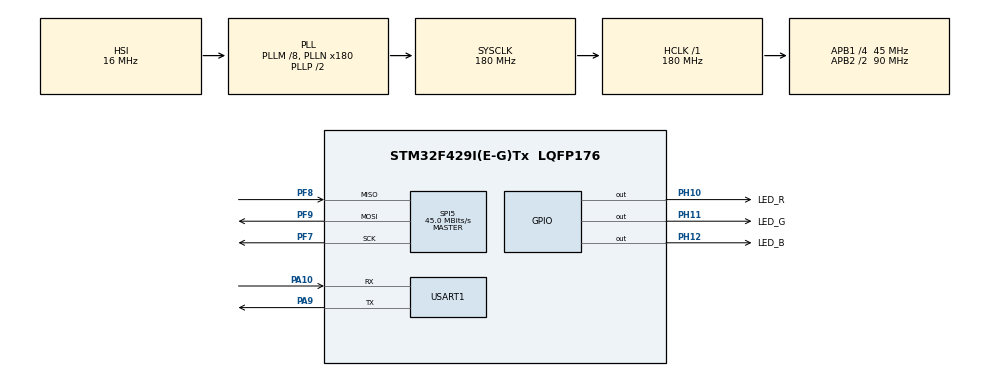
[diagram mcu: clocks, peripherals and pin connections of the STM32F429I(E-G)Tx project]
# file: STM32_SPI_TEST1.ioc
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Mcu.Family=STM32F4
Mcu.Name=STM32F429I(E-G)Tx
Mcu.Package=LQFP176
NVIC.PriorityGroup=NVIC_PRIORITYGROUP_4
PA10.Mode=Asynchronous
PA10.Signal=USART1_RX
PA9.Mode=Asynchronous
PA9.Signal=USART1_TX
PF7.Mode=Full_Duplex_Master
PF7.Signal=SPI5_SCK
PF8.Mode=Full_Duplex_Master
PF8.Signal=SPI5_MISO
PF9.Mode=Full_Duplex_Master
PF9.Signal=SPI5_MOSI
PH0/OSC_IN.Mode=HSE-External-Oscillator
PH0/OSC_IN.Signal=RCC_OSC_IN
PH1/OSC_OUT.Mode=HSE-External-Oscillator
PH1/OSC_OUT.Signal=RCC_OSC_OUT
PH10.GPIO_Label=LED_R
PH10.PinState=GPIO_PIN_SET
PH10.Signal=GPIO_Output
PH11.GPIO_Label=LED_G
PH11.PinState=GPIO_PIN_SET
PH11.Signal=GPIO_Output
PH12.GPIO_Label=LED_B
PH12.PinState=GPIO_PIN_SET
PH12.Signal=GPIO_Output
ProjectManager.HeapSize=0x200
ProjectManager.StackSize=0x400
ProjectManager.TargetToolchain=MDK-ARM V5.27
RCC.48MHZClocksFreq_Value=90000000
RCC.AHBFreq_Value=180000000
RCC.APB1CLKDivider=RCC_HCLK_DIV4
RCC.APB1Freq_Value=45000000
RCC.APB1TimFreq_Value=90000000
RCC.APB2CLKDivider=RCC_HCLK_DIV2
RCC.APB2Freq_Value=90000000
RCC.APB2TimFreq_Value=180000000
RCC.CortexFreq_Value=180000000
RCC.HCLKFreq_Value=180000000
RCC.HSE_VALUE=25000000
RCC.HSI_VALUE=16000000
RCC.LSE_VALUE=32768
RCC.PLLM=8
RCC.PLLN=180
RCC.SYSCLKFreq_VALUE=180000000
RCC.SYSCLKSource=RCC_SYSCLKSOURCE_PLLCLK
RCC.VCOOutputFreq_Value=360000000
SPI5.CalculateBaudRate=45.0 MBits/s
SPI5.Direction=SPI_DIRECTION_2LINES
SPI5.Mode=SPI_MODE_MASTER
SPI5.VirtualType=VM_MASTER
USART1.VirtualMode=VM_ASYNC
board=custom

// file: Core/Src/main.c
/* USER CODE BEGIN Header */
/**
  ******************************************************************************
  * @file           : main.c
  * @brief          : Main program body
  ******************************************************************************
  * @attention
  *
  * <h2><center>&copy; Copyright (c) 2022 STMicroelectronics.
  * All rights reserved.</center></h2>
  *
  * This software component is licensed by ST under BSD 3-Clause license,
  * the "License"; You may not use this file except in compliance with the
  * License. You may obtain a copy of the License at:
  *                        opensource.org/licenses/BSD-3-Clause
  *
  ******************************************************************************
  */
/* USER CODE END Header */
#include "main.h"
#include "spi.h"
#include "usart.h"
#include "gpio.h"

/* USER CODE BEGIN Includes */
#include "stdio.h"
#include "ff.h"
#include "string.h"
/* USER CODE END Includes */

/* USER CODE BEGIN PTD */
typedef enum
	{
		FAILED = 0,
		PASSED
	}TestStatus;

FATFS fs; 					//FatFs file system object
FIL fnew;					//File object
FRESULT res_flash;			//File operation result
UINT fnum;					//Num to count successful opeartion of reading and writing

char fpath[100];			//File path
char readbuffer[512];

/* USER CODE END PTD */

/* USER CODE BEGIN PD */
#define FLASH_WriteAddress		0x000000
#define FLASH_ReadAddress			FLASH_WriteAddress
#define FLASH_SectorToErase	 	FLASH_WriteAddress

#define countof(a)						(sizeof(a) / sizeof(*(a)))
#define BufferSize						(countof(Tx_Buffer) - 1)

/* USER CODE END PD */

/* USER CODE BEGIN PV */
__IO uint32_t DeviceID = 0;
__IO uint32_t FlashID = 0;
__IO TestStatus TransferStatus = FAILED;

uint8_t Tx_Buffer[] = "STM32F429IG SPI FLASH TEST";
uint8_t Rx_Buffer[BufferSize];

/* USER CODE END PV */

void SystemClock_Config(void);

int main(void)
{

  /* MCU Configuration--------------------------------------------------------*/

  /* Reset of all peripherals, Initializes the Flash interface and the Systick. */
  HAL_Init();

  /* Configure the system clock */
  SystemClock_Config();

  /* Initialize all configured peripherals */
  MX_GPIO_Init();
  MX_SPI5_Init();
  MX_USART1_UART_Init();
  /* USER CODE BEGIN 2 */

  printf("STM32 SPI FLASH File System Test!\n");
  res_flash = f_mount(&fs, "1:", 1);
  if(res_flash != FR_OK)
  {
	  printf("!!Mount external FLASH failure! (%d)\r\n", res_flash);
	  printf("!!SPI Init failure!\r\n");

	  while(1);
  }
  else
  {
	  printf(">File system is mounted successfully and can continue to test\r\n");
  }

  res_flash = miscellaneous();

  printf("\n******************** File info test ************************\r\n");
  res_flash = file_check();

  printf("********************** File Scan test ************************\r\n");
  strcpy(fpath, "1:");
  scan_files(fpath);

  f_mount(NULL, "1:", 1);

  /* USER CODE END 2 */

  /* Infinite loop */
  while (1)
  {

  }
}

void SystemClock_Config(void)
{
  RCC_OscInitTypeDef RCC_OscInitStruct = {0};
  RCC_ClkInitTypeDef RCC_ClkInitStruct = {0};

  /** Configure the main internal regulator output voltage
  */
  __HAL_RCC_PWR_CLK_ENABLE();
  __HAL_PWR_VOLTAGESCALING_CONFIG(PWR_REGULATOR_VOLTAGE_SCALE1);
  /** Initializes the RCC Oscillators according to the specified parameters
  * in the RCC_OscInitTypeDef structure.
  */
  RCC_OscInitStruct.OscillatorType = RCC_OSCILLATORTYPE_HSI;
  RCC_OscInitStruct.HSIState = RCC_HSI_ON;
  RCC_OscInitStruct.HSICalibrationValue = RCC_HSICALIBRATION_DEFAULT;
  RCC_OscInitStruct.PLL.PLLState = RCC_PLL_ON;
  RCC_OscInitStruct.PLL.PLLSource = RCC_PLLSOURCE_HSI;
  RCC_OscInitStruct.PLL.PLLM = 8;
  RCC_OscInitStruct.PLL.PLLN = 180;
  RCC_OscInitStruct.PLL.PLLP = RCC_PLLP_DIV2;
  RCC_OscInitStruct.PLL.PLLQ = 4;
  if (HAL_RCC_OscConfig(&RCC_OscInitStruct) != HAL_OK)
  {
    Error_Handler();
  }
  /** Activate the Over-Drive mode
  */
  if (HAL_PWREx_EnableOverDrive() != HAL_OK)
  {
    Error_Handler();
  }
  /** Initializes the CPU, AHB and APB buses clocks
  */
  RCC_ClkInitStruct.ClockType = RCC_CLOCKTYPE_HCLK|RCC_CLOCKTYPE_SYSCLK
                              |RCC_CLOCKTYPE_PCLK1|RCC_CLOCKTYPE_PCLK2;
  RCC_ClkInitStruct.SYSCLKSource = RCC_SYSCLKSOURCE_PLLCLK;
  RCC_ClkInitStruct.AHBCLKDivider = RCC_SYSCLK_DIV1;
  RCC_ClkInitStruct.APB1CLKDivider = RCC_HCLK_DIV4;
  RCC_ClkInitStruct.APB2CLKDivider = RCC_HCLK_DIV2;

  if (HAL_RCC_ClockConfig(&RCC_ClkInitStruct, FLASH_LATENCY_5) != HAL_OK)
  {
    Error_Handler();
  }
}

/* USER CODE BEGIN 4 */
/**
 * @brief
 * @param
 * @retval
 *
 */
static FRESULT miscellaneous(void)
{
	DIR dir;
	FATFS *pfs;
	DWORD fre_clust, fre_sect, tot_sect;

	printf("\n****************Device Info ************\r\n");
	//get device information and size of clust
	res_flash = f_getfree("1", &fre_clust, &pfs);

	//Calculate totol sectors and empty sectors
	tot_sect = (pfs->n_fatent - 2) * pfs->csize;
	fre_sect = fre_clust * pfs->csize;

	printf(">> Device total space : %10lu KB.\n >> free space : %10lu KB. \n", tot_sect * 4, fre_sect * 4);

	printf("\n *********************** File location and format to write test ***************\r\n");
	res_flash = f_open(&fnew, "1:FatFs write and read test.txt", FA_OPEN_ALWAYS|FA_WRITE|FA_READ);

	if(res_flash == FR_OK)
	{
		//File location
		res_flash = f_lseek(&fnew, f_size(&fnew));
		if(res_flash == FR_OK)
		{
			f_printf(&fnew, "\n Add a new line in the file");
			f_printf(&fnew, "> Device total space: %10lu KB. \n > free space: %10lu KB.\n", tot_sect * 4, fre_sect * 4);

			//Locate to the starting place of the file
			res_flash = f_lseek(&fnew, 0);

			res_flash = f_read(&fnew, readbuffer, f_size(&fnew), &fnum);
			if(res_flash == FR_OK)
			{
				printf("> Context: \n%s\n", readbuffer);
			}

		}

		f_close(&fnew);

		printf(\n********************* Create directory and name function test *****************\r\n);

		res_flash = f_opendir(&dir, "1:TestDir");
		if(res_flash != FR_OK)
		{
			res_flash = f_mkdir("1:TestDir");
		}
		else
		{
			res_flash =  f_close(&dir)

			f_unlink("1:TestDir/testdir.txt");
		}

		if(res_flash == FR_OK)
		{
			res_flash = f_rename("1:FatFs write and read test.txt", "1:TestDir/testdir.txt");
		}
	}
	else
	{
		printf("!!Fail to open file: %d\n", res_flash);
	}

	return res_flash;

}

FILINFO fno;
static FRESULT file_check(void)
{
	res_flash = f_stat("1:TestDir/testdir.txt", &fno);
	if(res_flash == FR_OK)
	{
		printf("testdir.txt file info: \n");
		pirntf("> file size: %ld byte \n", fno.size);
	}

	return res_flash;
}

/**
  * @brief  scan_files 递归扫描FatFs内的文件
  * @param  path:初始扫描路径
  * @retval result:文件系统的返回值
  */
static FRESULT scan_files (char* path)
{
  FRESULT res; 		//部分在递归过程被修改的变量，不用全局变量
  FILINFO fno;
  DIR dir;
  int i;
  char *fn;        // 文件名

#if _USE_LFN
  /* 长文件名支持 */
  /* 简体中文需要2个字节保存一个“字”*/
  static char lfn[_MAX_LFN*2 + 1];
  fno.lfname = lfn;
  fno.lfsize = sizeof(lfn);
#endif
  //打开目录
  res = f_opendir(&dir, path);
  if (res == FR_OK)
	{
    i = strlen(path);
    for (;;)
		{
      //读取目录下的内容，再读会自动读下一个文件
      res = f_readdir(&dir, &fno);
      //为空时表示所有项目读取完毕，跳出
      if (res != FR_OK || fno.fname[0] == 0) break;
#if _USE_LFN
      fn = *fno.lfname ? fno.lfname : fno.fname;
#else
      fn = fno.fname;
#endif
      //点表示当前目录，跳过
      if (*fn == '.') continue;
      //目录，递归读取
      if (fno.fattrib & AM_DIR)
			{
        //合成完整目录名
        sprintf(&path[i], "/%s", fn);
        //递归遍历
        res = scan_files(path);
        path[i] = 0;
        //打开失败，跳出循环
        if (res != FR_OK)
					break;
      }
			else
			{
				printf("%s/%s\r\n", path, fn);								//输出文件名
        /* 可以在这里提取特定格式的文件路径 */
      }//else
    } //for
  }
  return res;
}

/* USER CODE END 4 */

void Error_Handler(void)
{
  __disable_irq();
  while (1)
  {
  }
}

/************************ (C) COPYRIGHT STMicroelectronics *****END OF FILE****/
